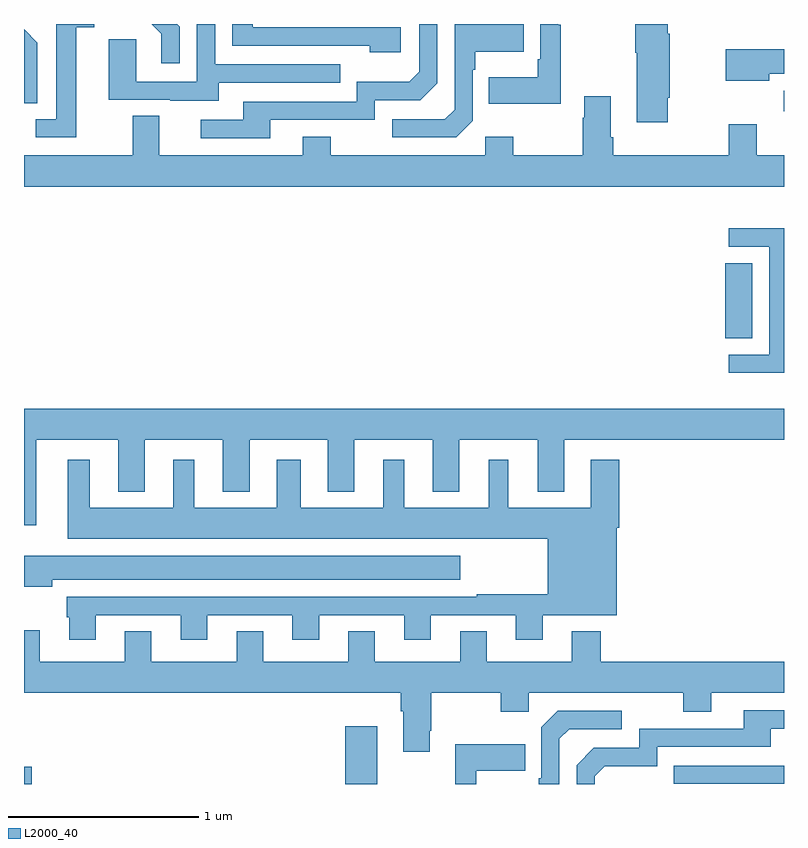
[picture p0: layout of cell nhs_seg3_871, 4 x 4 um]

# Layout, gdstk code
import gdstk
lib = gdstk.Library(unit=1e-6, precision=1e-09)
def R(c, l, rs):  # rectangles x0, y0, x1, y1
    for r in rs: c.add(gdstk.rectangle(r[:2], r[2:], *l))
def P(c, l, *ps):  # polygons
    for p in ps: c.add(gdstk.Polygon(p, *l))
L2000_40 = (2000, 40)

nhs_seg3_871 = lib.new_cell('nhs_seg3_871')
R(nhs_seg3_871, L2000_40, [(155,736.4,155.042,736.492), (156.692,736.4,156.859,736.705), (158.419,736.401,159,736.497), (158.69,738.745,158.833,739.142), (158.999,739.941,159,740.049)])
P(nhs_seg3_871, L2000_40, [(156.982,740.382),(156.205,740.382),(156.205,740.4),(156.096,740.4),(156.096,740.286),(156.821,740.286),(156.821,740.252),(156.982,740.252)],
  [(156.025,740.091),(156.665,740.091),(156.665,740.187),(156.006,740.187),(156.006,740.4),(155.91,740.4),(155.91,740.097),(155.592,740.097),(155.592,740.321),(155.447,740.321),(155.447,740.001),(155.771,740.001),(155.771,739.997),(156.025,739.997)],
  [(155.82,740.386),(155.806,740.4),(155.672,740.4),(155.723,740.349),(155.723,740.193),(155.82,740.193)],
  [(155.275,740.384),(155.371,740.384),(155.371,740.4),(155.171,740.4),(155.171,739.899),(155.061,739.899),(155.061,739.803),(155.275,739.803)],
  [(157.825,740.395),(157.813,740.395),(157.813,740.4),(157.716,740.4),(157.716,740.215),(157.704,740.215),(157.704,740.119),(157.447,740.119),(157.447,739.979),(157.825,739.979)],
  [(157.362,739.89),(157.362,740.159),(157.375,740.159),(157.375,740.255),(157.631,740.255),(157.631,740.4),(157.266,740.4),(157.266,739.95),(157.215,739.899),(156.939,739.899),(156.939,739.803),(157.275,739.803)],
  [(158.388,740.013),(158.398,740.013),(158.398,740.349),(158.388,740.349),(158.388,740.4),(158.218,740.4),(158.218,740.249),(158.225,740.249),(158.225,739.884),(158.388,739.884)],
  [(156.295,739.896),(156.846,739.896),(156.846,739.998),(157.086,739.998),(157.176,740.088),(157.176,740.4),(157.08,740.4),(157.08,740.148),(157.027,740.095),(156.75,740.095),(156.75,739.992),(156.155,739.992),(156.155,739.896),(155.931,739.896),(155.931,739.8),(156.295,739.8)],
  [(155.07,740.302),(155,740.372),(155,739.984),(155.07,739.984)],
  [(158.923,740.138),(159,740.138),(159,740.266),(158.694,740.266),(158.694,740.102),(158.923,740.102)],
  [(159,739.708),(158.857,739.708),(158.857,739.873),(158.71,739.873),(158.71,739.708),(158.102,739.708),(158.102,739.804),(158.089,739.804),(158.089,740.02),(157.949,740.02),(157.949,739.907),(157.942,739.907),(157.942,739.708),(157.575,739.708),(157.575,739.807),(157.428,739.807),(157.428,739.708),(156.615,739.708),(156.615,739.807),(156.467,739.807),(156.467,739.708),(155.713,739.708),(155.713,739.916),(155.573,739.916),(155.573,739.708),(155,739.708),(155,739.544),(159,739.544)],
  [(159,739.326),(158.709,739.326),(158.709,739.227),(158.922,739.227),(158.922,738.66),(158.709,738.66),(158.709,738.564),(159,738.564)],
  [(155.065,738.212),(155.495,738.212),(155.495,737.939),(155.635,737.939),(155.635,738.212),(156.047,738.212),(156.047,737.939),(156.187,737.939),(156.187,738.212),(156.599,738.212),(156.599,737.939),(156.739,737.939),(156.739,738.212),(157.151,738.212),(157.151,737.939),(157.291,737.939),(157.291,738.212),(157.703,738.212),(157.703,737.939),(157.843,737.939),(157.843,738.212),(159,738.212),(159,738.376),(155,738.376),(155,737.763),(155.065,737.763)],
  [(155.377,737.289),(155.825,737.289),(155.825,737.16),(155.965,737.16),(155.965,737.289),(156.413,737.289),(156.413,737.16),(156.553,737.16),(156.553,737.289),(157.001,737.289),(157.001,737.16),(157.141,737.16),(157.141,737.289),(157.589,737.289),(157.589,737.16),(157.729,737.16),(157.729,737.288),(158.119,737.288),(158.119,737.75),(158.132,737.75),(158.132,738.106),(157.982,738.106),(157.982,737.854),(157.549,737.854),(157.549,738.106),(157.445,738.106),(157.445,737.854),(157,737.854),(157,738.106),(156.89,738.106),(156.89,737.854),(156.457,737.854),(156.457,738.106),(156.329,738.106),(156.329,737.854),(155.896,737.854),(155.896,738.106),(155.786,738.106),(155.786,737.854),(155.347,737.854),(155.347,738.106),(155.231,738.106),(155.231,737.69),(157.757,737.69),(157.757,737.398),(157.384,737.398),(157.384,737.385),(155.225,737.385),(155.225,737.277),(155.237,737.277),(155.237,737.16),(155.377,737.16)],
  [(155.149,737.474),(157.297,737.474),(157.297,737.602),(155,737.602),(155,737.438),(155.149,737.438)],
  [(157.135,736.681),(157.143,736.681),(157.143,736.88),(157.51,736.88),(157.51,736.781),(157.656,736.781),(157.656,736.88),(158.47,736.88),(158.47,736.781),(158.617,736.781),(158.617,736.88),(159,736.88),(159,737.044),(158.036,737.044),(158.036,737.203),(157.883,737.203),(157.883,737.044),(157.435,737.044),(157.435,737.204),(157.295,737.204),(157.295,737.044),(156.847,737.044),(156.847,737.204),(156.707,737.204),(156.707,737.044),(156.259,737.044),(156.259,737.204),(156.119,737.204),(156.119,737.044),(155.671,737.044),(155.671,737.204),(155.531,737.204),(155.531,737.044),(155.083,737.044),(155.083,737.209),(155,737.209),(155,736.88),(156.983,736.88),(156.983,736.784),(156.995,736.784),(156.995,736.569),(157.135,736.569)],
  [(158.004,736.44),(158.057,736.493),(158.334,736.493),(158.334,736.596),(158.929,736.596),(158.929,736.692),(159,736.692),(159,736.788),(158.789,736.788),(158.789,736.692),(158.238,736.692),(158.238,736.59),(157.998,736.59),(157.908,736.5),(157.908,736.4),(158.004,736.4)],
  [(157.818,736.638),(157.869,736.689),(158.146,736.689),(158.146,736.785),(157.809,736.785),(157.722,736.698),(157.722,736.429),(157.71,736.429),(157.71,736.4),(157.818,736.4)],
  [(157.381,736.469),(157.637,736.469),(157.637,736.609),(157.271,736.609),(157.271,736.4),(157.381,736.4)])

lib.write_gds('nhs_seg3_871.gds')
